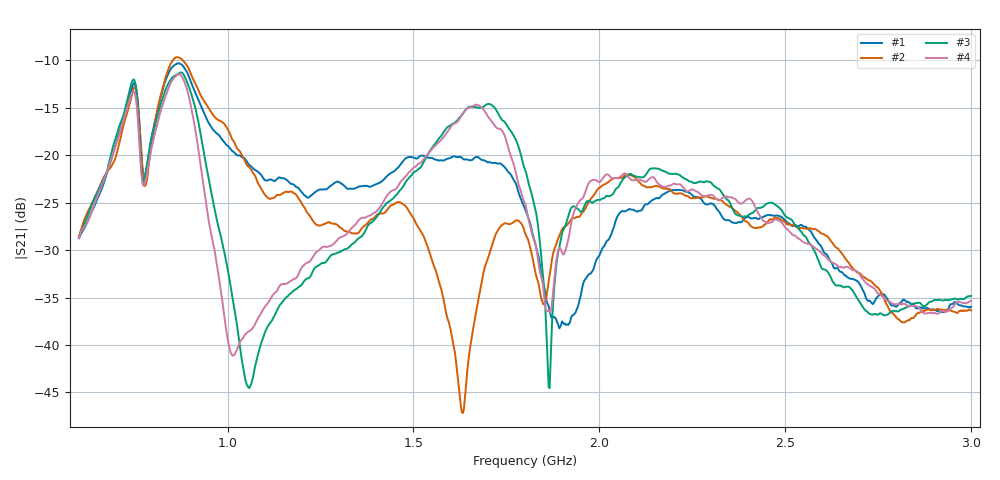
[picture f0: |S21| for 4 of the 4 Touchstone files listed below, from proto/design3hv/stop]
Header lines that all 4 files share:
#  HZ  S  RI  R  50.00
! Rohde & Schwarz ZVB8 2Ports - Version 2.81 - 1145.1010k08 SN: 100113
! Measurements: S11 S21 S12 S22
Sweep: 600 MHz to 3 GHz
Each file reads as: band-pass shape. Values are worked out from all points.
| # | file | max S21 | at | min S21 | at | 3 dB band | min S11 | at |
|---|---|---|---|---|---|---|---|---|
| 1 | henrik-top-0.7-pF.s2p | -10.30 dB | 866.7 MHz | -38.2 dB | 1.892 GHz | 825.8 MHz-909.9 MHz | -12.2 dB | 746.5 MHz |
| 2 | henrik-top-1.1-pF.s2p | -9.66 dB | 864.3 MHz | -47.2 dB | 1.633 GHz | 828.2 MHz-914.7 MHz | -9.8 dB | 746.5 MHz |
| 3 | henrik-top-2.7-pF.s2p | -11.26 dB | 873.9 MHz | -44.5 dB | 1.866 GHz | 823.4 MHz-907.5 MHz | -11.5 dB | 1.729 GHz |
| 4 | henrik-top-3.0-pF.s2p | -11.44 dB | 866.7 MHz | -41.1 dB | 1.016 GHz | 828.2 MHz-897.9 MHz | -12.1 dB | 1.722 GHz |
